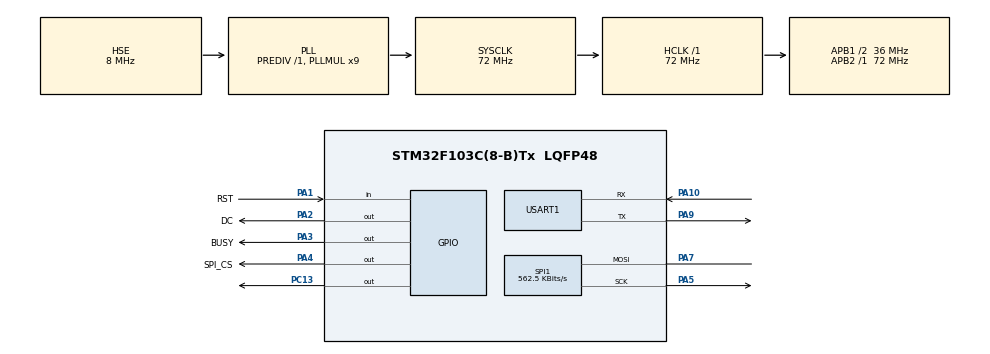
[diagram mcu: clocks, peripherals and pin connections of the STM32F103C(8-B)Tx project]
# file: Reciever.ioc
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Mcu.Family=STM32F1
Mcu.Name=STM32F103C(8-B)Tx
Mcu.Package=LQFP48
NVIC.PriorityGroup=NVIC_PRIORITYGROUP_4
PA1.GPIO_Label=RST
PA1.Signal=GPIO_Input
PA10.Mode=Asynchronous
PA10.Signal=USART1_RX
PA2.GPIO_Label=DC
PA2.Signal=GPIO_Output
PA3.GPIO_Label=BUSY
PA3.Signal=GPIO_Output
PA4.GPIO_Label=SPI_CS
PA4.Signal=GPIO_Output
PA5.Mode=Simplex_Bidirectional_Master
PA5.Signal=SPI1_SCK
PA7.Mode=Simplex_Bidirectional_Master
PA7.Signal=SPI1_MOSI
PA9.Mode=Asynchronous
PA9.Signal=USART1_TX
PC13-TAMPER-RTC.Signal=GPIO_Output
PD0-OSC_IN.Mode=HSE-External-Oscillator
PD0-OSC_IN.Signal=RCC_OSC_IN
PD1-OSC_OUT.Mode=HSE-External-Oscillator
PD1-OSC_OUT.Signal=RCC_OSC_OUT
ProjectManager.HeapSize=0x200
ProjectManager.StackSize=0x400
ProjectManager.TargetToolchain=MDK-ARM V5.27
RCC.AHBFreq_Value=72000000
RCC.APB1CLKDivider=RCC_HCLK_DIV2
RCC.APB1Freq_Value=36000000
RCC.APB1TimFreq_Value=72000000
RCC.APB2Freq_Value=72000000
RCC.APB2TimFreq_Value=72000000
RCC.HCLKFreq_Value=72000000
RCC.PLLMUL=RCC_PLL_MUL9
RCC.PLLSourceVirtual=RCC_PLLSOURCE_HSE
RCC.SYSCLKFreq_VALUE=72000000
RCC.SYSCLKSource=RCC_SYSCLKSOURCE_PLLCLK
RCC.USBFreq_Value=72000000
SPI1.BaudRatePrescaler=SPI_BAUDRATEPRESCALER_128
SPI1.CalculateBaudRate=562.5 KBits/s
SPI1.Direction=SPI_DIRECTION_1LINE
SPI1.Mode=SPI_MODE_MASTER
SPI1.VirtualType=VM_MASTER
USART1.VirtualMode=VM_ASYNC
VP_SYS_VS_ND.Mode=No_Debug
board=custom

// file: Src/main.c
/* USER CODE BEGIN Header */
/**
  ******************************************************************************
  * @file           : main.c
  * @brief          : Main program body
  ******************************************************************************
  * @attention
  *
  * <h2><center>&copy; Copyright (c) 2020 STMicroelectronics.
  * All rights reserved.</center></h2>
  *
  * This software component is licensed by ST under BSD 3-Clause license,
  * the "License"; You may not use this file except in compliance with the
  * License. You may obtain a copy of the License at:
  *                        opensource.org/licenses/BSD-3-Clause
  *
  ******************************************************************************
  */
/* USER CODE END Header */

#include "main.h"
#include "spi.h"
#include "usart.h"
#include "gpio.h"

/* USER CODE BEGIN Includes */
#include "epd4in2b.h"
#include "epdif.h"
#include "epdpaint.h"
#include <stdlib.h>
/* USER CODE END Includes */

/* USER CODE BEGIN PD */
#define COLORED      1
#define UNCOLORED    0
/* USER CODE END PD */

void SystemClock_Config(void);

int main(void)
{

  /* MCU Configuration--------------------------------------------------------*/

  /* Reset of all peripherals, Initializes the Flash interface and the Systick. */
  HAL_Init();

  /* USER CODE BEGIN Init */

	unsigned char* frame_black = (unsigned char*)malloc(EPD_WIDTH * EPD_HEIGHT / 8);
  unsigned char* frame_red = (unsigned char*)malloc(EPD_WIDTH * EPD_HEIGHT / 8);
  /* USER CODE END Init */

  /* Configure the system clock */
  SystemClock_Config();

  /* Initialize all configured peripherals */
  MX_GPIO_Init();
  MX_SPI1_Init();
  MX_USART1_UART_Init();
  /* USER CODE BEGIN 2 */
	EPD epd;
  if (EPD_Init(&epd) != 0) {
    return -1;
  }

	Paint paint_black;
  Paint_Init(&paint_black, frame_black, epd.width, epd.height);
  Paint_Clear(&paint_black, UNCOLORED);
  Paint paint_red;
  Paint_Init(&paint_red, frame_red, epd.width, epd.height);
  Paint_Clear(&paint_red, UNCOLORED);
	Paint_DrawRectangle(&paint_black, 20, 80, 180, 280, COLORED);
  Paint_DrawLine(&paint_black, 20, 80, 180, 280, COLORED);
  Paint_DrawLine(&paint_black, 180, 80, 20, 280, COLORED);
  Paint_DrawFilledRectangle(&paint_red, 200, 80, 360, 280, COLORED);
  Paint_DrawCircle(&paint_red, 300, 160, 60, UNCOLORED);
  Paint_DrawFilledCircle(&paint_red, 90, 210, 30, COLORED);
	Paint_DrawFilledRectangle(&paint_red, 0, 6, 400, 30, COLORED);
  Paint_DrawStringAt(&paint_red, 100, 10, "Hello world!", &Font24, UNCOLORED);
  Paint_DrawStringAt(&paint_black, 100, 40, "e-Paper Demo", &Font24, COLORED);
	EPD_DisplayFrame(&epd, frame_black, frame_red);
	//EPD_DisplayFrame(&epd, IMAGE_BLACK, IMAGE_RED);

  /* USER CODE END 2 */

  /* Infinite loop */
  while (1)
  {

  }
}

void SystemClock_Config(void)
{
  RCC_OscInitTypeDef RCC_OscInitStruct = {0};
  RCC_ClkInitTypeDef RCC_ClkInitStruct = {0};

  /** Initializes the CPU, AHB and APB busses clocks
  */
  RCC_OscInitStruct.OscillatorType = RCC_OSCILLATORTYPE_HSE;
  RCC_OscInitStruct.HSEState = RCC_HSE_ON;
  RCC_OscInitStruct.HSEPredivValue = RCC_HSE_PREDIV_DIV1;
  RCC_OscInitStruct.HSIState = RCC_HSI_ON;
  RCC_OscInitStruct.PLL.PLLState = RCC_PLL_ON;
  RCC_OscInitStruct.PLL.PLLSource = RCC_PLLSOURCE_HSE;
  RCC_OscInitStruct.PLL.PLLMUL = RCC_PLL_MUL9;
  if (HAL_RCC_OscConfig(&RCC_OscInitStruct) != HAL_OK)
  {
    Error_Handler();
  }
  /** Initializes the CPU, AHB and APB busses clocks
  */
  RCC_ClkInitStruct.ClockType = RCC_CLOCKTYPE_HCLK|RCC_CLOCKTYPE_SYSCLK
                              |RCC_CLOCKTYPE_PCLK1|RCC_CLOCKTYPE_PCLK2;
  RCC_ClkInitStruct.SYSCLKSource = RCC_SYSCLKSOURCE_PLLCLK;
  RCC_ClkInitStruct.AHBCLKDivider = RCC_SYSCLK_DIV1;
  RCC_ClkInitStruct.APB1CLKDivider = RCC_HCLK_DIV2;
  RCC_ClkInitStruct.APB2CLKDivider = RCC_HCLK_DIV1;

  if (HAL_RCC_ClockConfig(&RCC_ClkInitStruct, FLASH_LATENCY_2) != HAL_OK)
  {
    Error_Handler();
  }
}

void Error_Handler(void)
{
}

/************************ (C) COPYRIGHT STMicroelectronics *****END OF FILE****/
